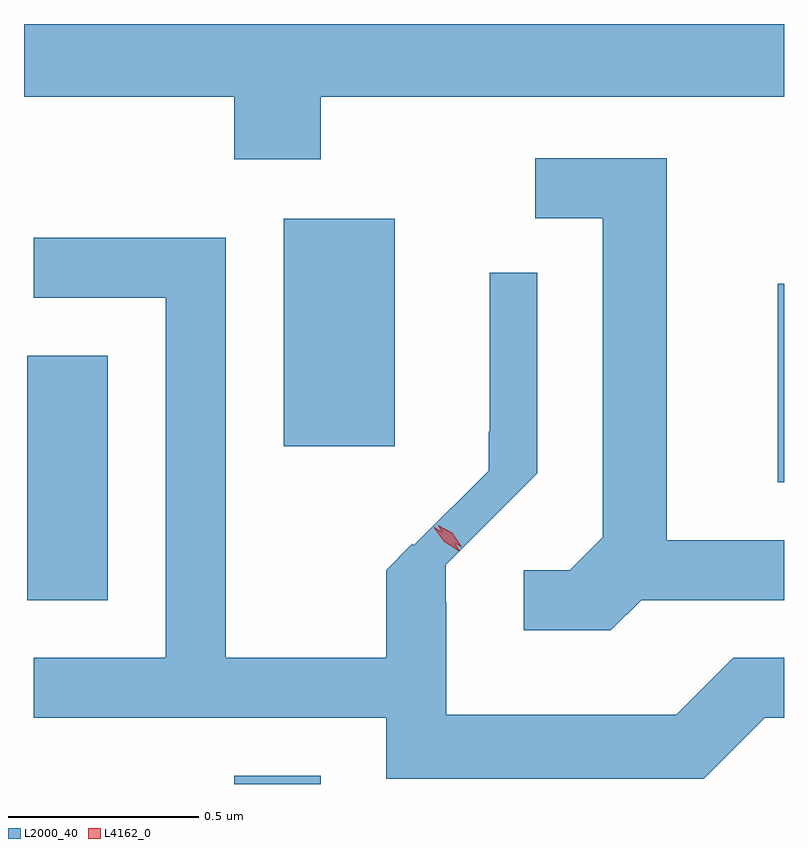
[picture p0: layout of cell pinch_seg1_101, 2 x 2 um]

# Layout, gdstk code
import gdstk
lib = gdstk.Library(unit=1e-6, precision=1e-09)
def R(c, l, rs):  # rectangles x0, y0, x1, y1
    for r in rs: c.add(gdstk.rectangle(r[:2], r[2:], *l))
def P(c, l, *ps):  # polygons
    for p in ps: c.add(gdstk.Polygon(p, *l))
L2000_40 = (2000, 40)
L4162_0 = (4162, 0)

pinch_seg1_101 = lib.new_cell('pinch_seg1_101')
R(pinch_seg1_101, L2000_40, [(225.091,893.327,225.319,893.349), (224.546,893.811,224.759,894.454), (226.521,894.121,226.538,894.644), (225.221,894.216,225.514,894.814)])
P(pinch_seg1_101, L2000_40, [(225.319,895.136),(226.538,895.136),(226.538,895.327),(224.538,895.327),(224.538,895.136),(225.091,895.136),(225.091,894.971),(225.319,894.971)],
  [(226.162,893.811),(226.538,893.811),(226.538,893.969),(226.229,893.969),(226.229,894.974),(225.883,894.974),(225.883,894.816),(226.061,894.816),(226.061,893.977),(225.974,893.889),(225.853,893.889),(225.853,893.731),(226.082,893.731)],
  [(226.487,893.501),(226.538,893.501),(226.538,893.659),(226.404,893.659),(226.254,893.509),(225.649,893.509),(225.649,893.805),(225.648,893.805),(225.648,893.904),(225.889,894.145),(225.889,894.673),(225.763,894.673),(225.763,894.254),(225.761,894.254),(225.761,894.152),(225.564,893.955),(225.56,893.959),(225.491,893.89),(225.491,893.659),(225.069,893.659),(225.069,894.764),(224.563,894.764),(224.563,894.606),(224.911,894.606),(224.911,893.659),(224.563,893.659),(224.563,893.501),(225.491,893.501),(225.491,893.341),(226.327,893.341)])
P(pinch_seg1_101, L4162_0, [(225.687,893.952),(225.651,893.973),(225.628,894.007),(225.628,894.008),(225.628,894.008),(225.665,893.988),(225.688,893.953),(225.688,893.952)],
  [(225.684,893.94),(225.644,893.965),(225.616,894.003),(225.616,894.003),(225.617,894.003),(225.657,893.979),(225.685,893.941),(225.685,893.94)])

lib.write_gds('pinch_seg1_101.gds')
